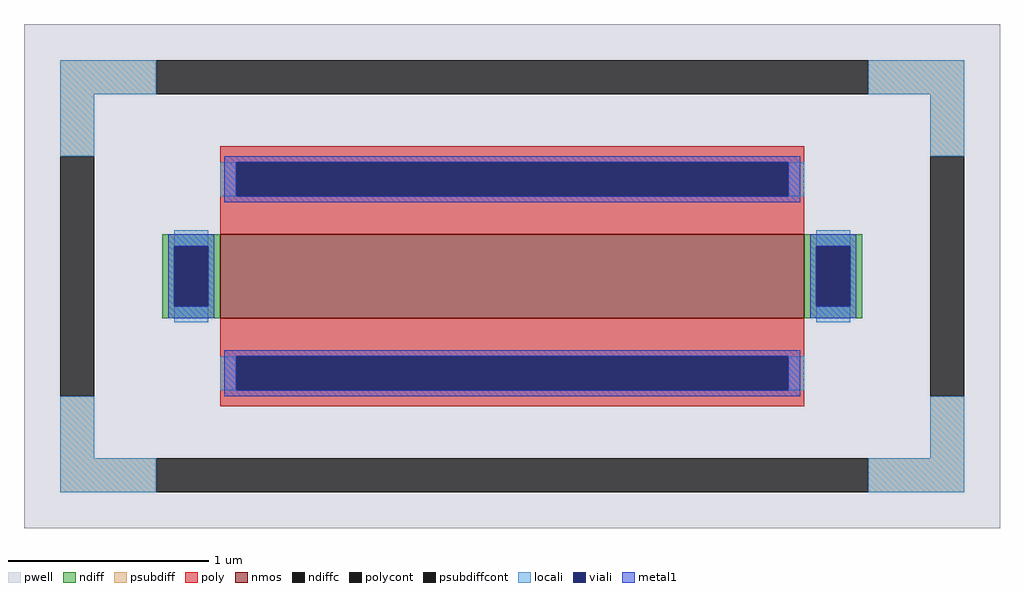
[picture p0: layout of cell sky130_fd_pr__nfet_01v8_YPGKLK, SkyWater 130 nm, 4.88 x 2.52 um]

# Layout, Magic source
magic
tech sky130A
<< pwell >>
rect -244 -126 244 126
<< nmos >>
rect -146 -21 146 21
<< ndiff >>
rect -175 15 -146 21
rect -175 -15 -169 15
rect -152 -15 -146 15
rect -175 -21 -146 -15
rect 146 15 175 21
rect 146 -15 152 15
rect 169 -15 175 15
rect 146 -21 175 -15
<< ndiffc >>
rect -169 -15 -152 15
rect 152 -15 169 15
<< psubdiff >>
rect -226 91 -178 108
rect 178 91 226 108
rect -226 60 -209 91
rect 209 60 226 91
rect -226 -91 -209 -60
rect 209 -91 226 -60
rect -226 -108 -178 -91
rect 178 -108 226 -91
<< psubdiffcont >>
rect -178 91 178 108
rect -226 -60 -209 60
rect 209 -60 226 60
rect -178 -108 178 -91
<< poly >>
rect -146 57 146 65
rect -146 40 -138 57
rect 138 40 146 57
rect -146 21 146 40
rect -146 -40 146 -21
rect -146 -57 -138 -40
rect 138 -57 146 -40
rect -146 -65 146 -57
<< polycont >>
rect -138 40 138 57
rect -138 -57 138 -40
<< locali >>
rect -226 91 -178 108
rect 178 91 226 108
rect -226 60 -209 91
rect 209 60 226 91
rect -146 40 -138 57
rect 138 40 146 57
rect -169 15 -152 23
rect -169 -23 -152 -15
rect 152 15 169 23
rect 152 -23 169 -15
rect -146 -57 -138 -40
rect 138 -57 146 -40
rect -226 -91 -209 -60
rect 209 -91 226 -60
rect -226 -108 -178 -91
rect 178 -108 226 -91
<< viali >>
rect -138 40 138 57
rect -169 -15 -152 15
rect 152 -15 169 15
rect -138 -57 138 -40
<< metal1 >>
rect -144 57 144 60
rect -144 40 -138 57
rect 138 40 144 57
rect -144 37 144 40
rect -172 15 -149 21
rect -172 -15 -169 15
rect -152 -15 -149 15
rect -172 -21 -149 -15
rect 149 15 172 21
rect 149 -15 152 15
rect 169 -15 172 15
rect 149 -21 172 -15
rect -144 -40 144 -37
rect -144 -57 -138 -40
rect 138 -57 144 -40
rect -144 -60 144 -57
<< properties >>
string FIXED_BBOX -217 -99 217 99
string gencell sky130_fd_pr__nfet_01v8
string library sky130
string parameters w 0.42 l 2.92 m 1 nf 1 diffcov 100 polycov 100 guard 1 glc 1 grc 1 gtc 1 gbc 1 tbcov 100 rlcov 100 topc 1 botc 1 poverlap 0 doverlap 1 lmin 0.15 wmin 0.42 compatible {sky130_fd_pr__nfet_01v8 sky130_fd_pr__nfet_01v8_lvt  sky130_fd_bs_flash__special_sonosfet_star  sky130_fd_pr__nfet_g5v0d10v5 sky130_fd_pr__nfet_05v0_nvt  sky130_fd_pr__nfet_03v3_nvt} full_metal 1 viasrc 100 viadrn 100 viagate 100 viagb 0 viagr 0 viagl 0 viagt 0
<< end >>
